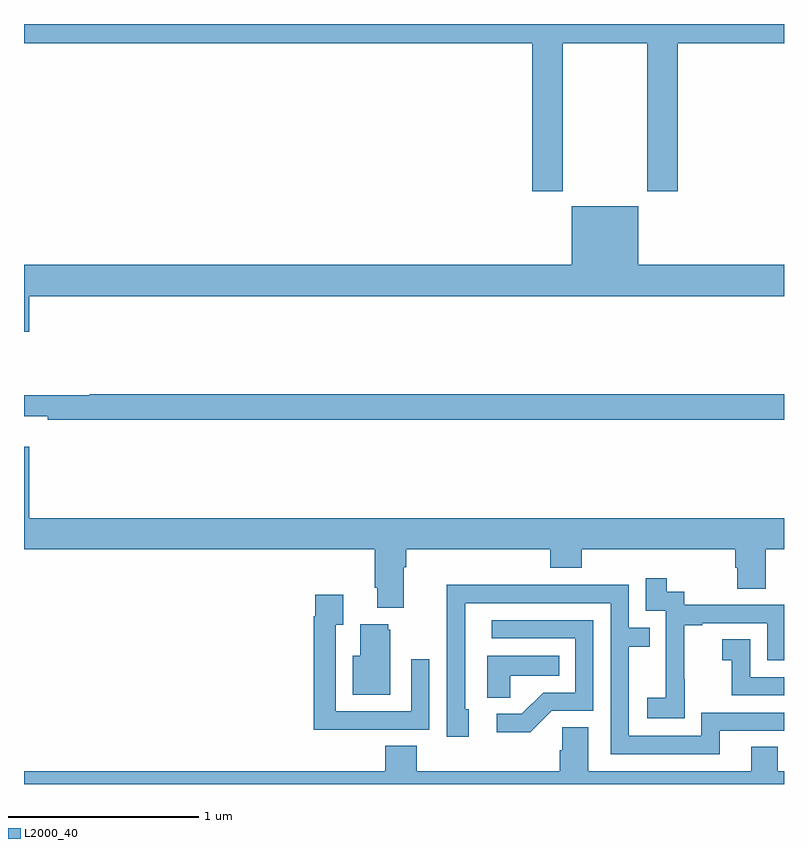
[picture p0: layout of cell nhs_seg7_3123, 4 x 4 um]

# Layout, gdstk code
import gdstk
lib = gdstk.Library(unit=1e-6, precision=1e-09)
def P(c, l, *ps):  # polygons
    for p in ps: c.add(gdstk.Polygon(p, *l))
L2000_40 = (2000, 40)

nhs_seg7_3123 = lib.new_cell('nhs_seg7_3123')
P(nhs_seg7_3123, L2000_40, [(311.835,1049.9),(312.28,1049.9),(312.28,1049.121),(312.44,1049.121),(312.44,1049.9),(313,1049.9),(313,1050),(309,1050),(309,1049.9),(311.675,1049.9),(311.675,1049.121),(311.835,1049.121)],
  [(309.028,1048.568),(313,1048.568),(313,1048.732),(312.232,1048.732),(312.232,1049.041),(311.882,1049.041),(311.882,1048.732),(309,1048.732),(309,1048.38),(309.028,1048.38)],
  [(313,1048.052),(309.347,1048.052),(309.347,1048.045),(309,1048.045),(309,1047.935),(309.124,1047.935),(309.124,1047.916),(313,1047.916)],
  [(310.999,1047.14),(311.012,1047.14),(311.012,1047.236),(311.771,1047.236),(311.771,1047.137),(311.936,1047.137),(311.936,1047.236),(312.743,1047.236),(312.743,1047.138),(312.755,1047.138),(312.755,1047.028),(312.903,1047.028),(312.903,1047.236),(313,1047.236),(313,1047.4),(309.028,1047.4),(309.028,1047.775),(309,1047.775),(309,1047.236),(310.847,1047.236),(310.847,1047.034),(310.859,1047.034),(310.859,1046.927),(310.999,1046.927)],
  [(312.477,1046.551),(312.476,1046.551),(312.476,1046.835),(312.571,1046.835),(312.571,1046.847),(312.912,1046.847),(312.912,1046.652),(313,1046.652),(313,1046.943),(312.474,1046.943),(312.474,1047.012),(312.382,1047.012),(312.382,1047.082),(312.273,1047.082),(312.273,1046.913),(312.378,1046.913),(312.378,1046.684),(312.377,1046.684),(312.377,1046.455),(312.279,1046.455),(312.279,1046.345),(312.477,1046.345)],
  [(312.661,1046.28),(313,1046.28),(313,1046.376),(312.564,1046.376),(312.564,1046.253),(312.183,1046.253),(312.183,1046.722),(312.293,1046.722),(312.293,1046.823),(312.183,1046.823),(312.183,1047.048),(311.687,1047.048),(311.687,1047.05),(311.224,1047.05),(311.224,1046.743),(311.226,1046.743),(311.226,1046.25),(311.341,1046.25),(311.341,1046.394),(311.322,1046.394),(311.322,1046.952),(312.087,1046.952),(312.087,1046.157),(312.661,1046.157)],
  [(310.817,1046.286),(311.133,1046.286),(311.133,1046.656),(311.037,1046.656),(311.037,1046.382),(310.641,1046.382),(310.641,1046.839),(310.681,1046.839),(310.681,1046.995),(310.533,1046.995),(310.533,1046.882),(310.525,1046.882),(310.525,1046.285),(310.817,1046.285)],
  [(311.778,1046.385),(311.997,1046.385),(311.997,1046.862),(311.463,1046.862),(311.463,1046.766),(311.901,1046.766),(311.901,1046.481),(311.732,1046.481),(311.621,1046.37),(311.487,1046.37),(311.487,1046.273),(311.665,1046.273)],
  [(310.927,1046.811),(310.916,1046.811),(310.916,1046.842),(310.769,1046.842),(310.769,1046.674),(310.73,1046.674),(310.73,1046.471),(310.927,1046.471)],
  [(313,1046.562),(312.822,1046.562),(312.822,1046.761),(312.675,1046.761),(312.675,1046.651),(312.724,1046.651),(312.724,1046.466),(313,1046.466)],
  [(311.559,1046.57),(311.816,1046.57),(311.816,1046.674),(311.438,1046.674),(311.438,1046.455),(311.559,1046.455)],
  [(313,1046.068),(312.966,1046.068),(312.966,1046.195),(312.827,1046.195),(312.827,1046.068),(311.971,1046.068),(311.971,1046.3),(311.832,1046.3),(311.832,1046.177),(311.819,1046.177),(311.819,1046.068),(311.066,1046.068),(311.066,1046.201),(310.901,1046.201),(310.901,1046.068),(309,1046.068),(309,1046),(313,1046)])

lib.write_gds('nhs_seg7_3123.gds')
